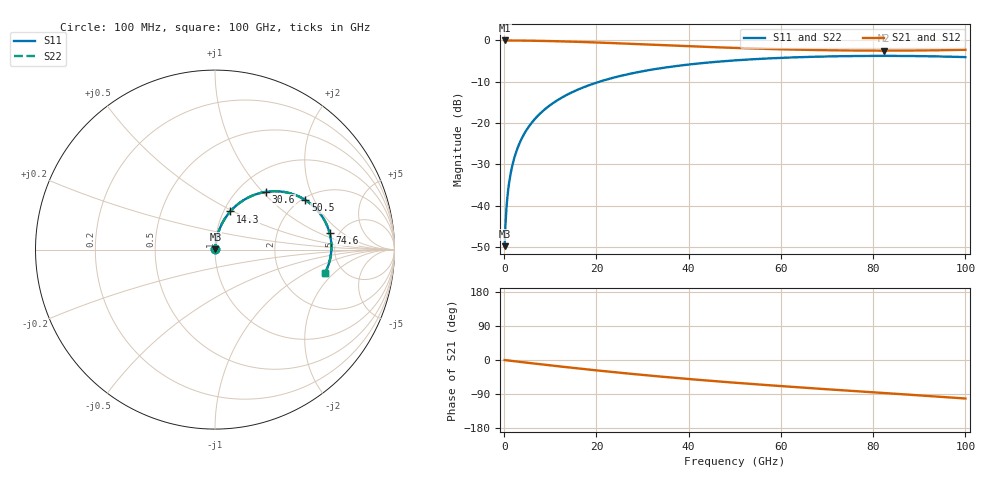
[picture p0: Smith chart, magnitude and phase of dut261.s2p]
! Touchstone file exported from HFSS 2026.1.0
!  File:  C:/ffzhzh/LocalFiles/Ansys_Project_Files/temp_train_RDL_261_1783501665_44152.aedt
!  Generated:  05:09:01 PM Jul  8, 2026
!  Design:  RDL
!  Project:  temp_train_RDL_261_1783501665_44152
! Variables:
!  h_bsmrdl = 2um
!  h_ox = 20um
!  h_rdl = 5um
!  h_sub = 80um
!  h_tmrdl = 3.24um
!  h_tsv = 80um
!  h_via = 3um
!  l_bsmrdl = 300um
!  l_sub = 740.25um
!  l_tmrdl = 340.25um
!  m_sub = 200um
!  pitch = 45.24um
!  r_tsv = 6um
!  s_tmrdl = 10um
!  w_bsmrdl = 18um
!  w_sub = 500um
!  w_tmrdl = 14.79um
!  x_tsv_center1 = 347.645um
!  x_tsv_center2 = 665.645um
!  x_tsv_center3 = 1020.685um
!  x_tsv_center4 = 1338.685um
!  x_tsv_center5 = 1693.725um
!  x_tsv_center6 = 2011.725um
# GHz S MA R 50.000000
! Terminal data exported
! Port[1] = TM_RDL1_1_T1
! Port[2] = TM_RDL1_1_T2
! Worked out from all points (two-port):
!   1000 points, 100 MHz to 100 GHz, reference 50 ohm
!   highest |S21| = -0.02 dB at 100 MHz (marker M1); lowest = -2.5 dB at 82.3 GHz (marker M2)
!   |S21| within 3 dB of the highest: start of sweep to end of sweep
!   lowest |S11| = -49.8 dB at 100 MHz (marker M3), VSWR 1.01, Z = 50.3 + j0.181 ohm
!   |S11| at or under -10 dB: start of sweep to 20.7 GHz
!   |S22| runs from -49.8 to -3.8 dB; largest |S21 - S12| = 3.6e-15
!   S11 on the Smith chart (normalised r, x): 100 MHz: 1.01, +0.00; 14.3 GHz: 1.07, +0.48; 30.6 GHz: 1.32, +1.04; 50.5 GHz: 2.08, +1.71; 74.6 GHz: 4.17, +1.35; 100 GHz: 3.65, -1.55
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0.1  0.003221 34.0  0.9973 -0.2  0.9973 -0.2  0.003221 34.0
! Gamma 0 0 0 0
! Port Impedance 50 0 50 0
0.4  0.007657 67.5  0.9971 -0.6  0.9971 -0.6  0.007657 67.5
0.9  0.01592 77.4  0.9968 -1.3  0.9968 -1.3  0.01592 77.4
1.4  0.02428 80.3  0.9965 -2.0  0.9965 -2.0  0.02428 80.3
1.8  0.03101 81.2  0.9962 -2.6  0.9962 -2.6  0.03101 81.2
2.3  0.03942 81.7  0.9958 -3.3  0.9958 -3.3  0.03942 81.7
3.6  0.06125 81.3  0.9943 -5.2  0.9943 -5.2  0.06125 81.3
5.4  0.09112 79.5  0.9915 -7.7  0.9915 -7.7  0.09112 79.5
7.8  0.13 76.5  0.9862 -11.1  0.9862 -11.1  0.13 76.6
10.7  0.1754 72.8  0.9781 -15.1  0.9781 -15.1  0.1754 72.8
14.3  0.2291 68.2  0.9659 -20.0  0.9659 -20.0  0.2291 68.2
16.8  0.2644 65.0  0.9563 -23.2  0.9563 -23.2  0.2644 65.0
23.1  0.346 57.3  0.929 -31.2  0.929 -31.2  0.346 57.3
30.6  0.4284 48.6  0.8937 -40.0  0.8937 -40.0  0.4284 48.7
33.4  0.4551 45.6  0.8804 -43.2  0.8804 -43.2  0.4551 45.6
50.1  0.5725 29.0  0.8097 -60.0  0.8097 -60.0  0.5725 29.1
50.5  0.5745 28.7  0.8083 -60.4  0.8083 -60.4  0.5745 28.7
66.7  0.632 14.8  0.7651 -74.5  0.7651 -74.5  0.632 14.8
74.6  0.6449 8.4  0.7546 -80.9  0.7546 -80.9  0.6449 8.5
82.3  0.6489 2.3  0.7513 -87.1  0.7513 -87.1  0.6489 2.4
83.4  0.6488 1.4  0.7513 -88.0  0.7513 -88.0  0.6488 1.5
100  0.6266 -11.9  0.7691 -101.6  0.7691 -101.6  0.6267 -11.9
